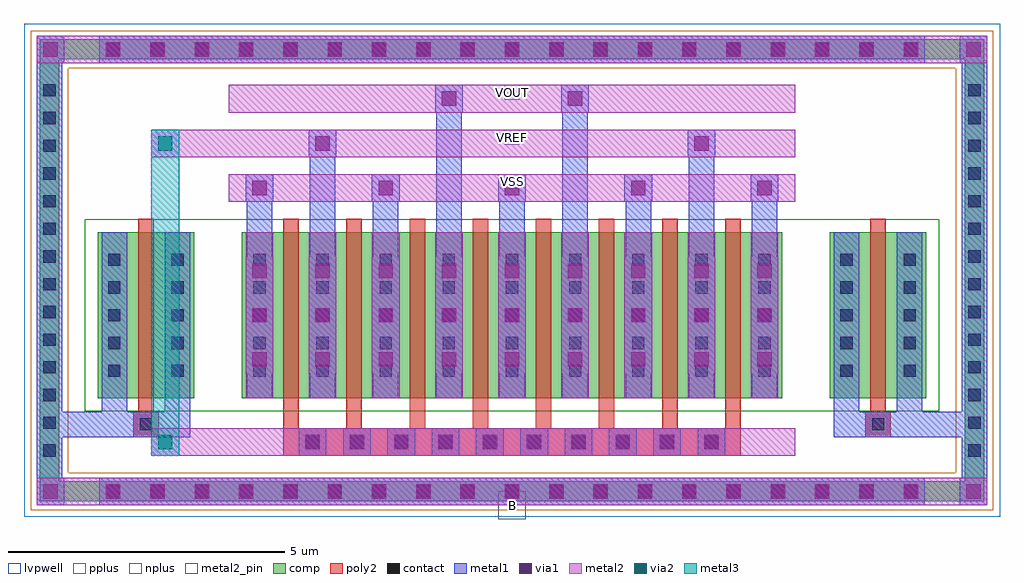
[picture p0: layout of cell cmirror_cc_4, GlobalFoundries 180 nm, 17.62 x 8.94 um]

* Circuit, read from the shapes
.subckt cmirror_cc_4 B VOUT VREF VSS
XM1 B B B B nfet_03v3 w=3u l=0.28u m=2
XM2 VREF VREF VSS B nfet_03v3 w=3u l=0.28u m=4
XM3 VOUT VREF VSS B nfet_03v3 w=3u l=0.28u m=4
.ends

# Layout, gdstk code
import gdstk
lib = gdstk.Library(unit=1e-6, precision=5e-09)
def R(c, l, rs):  # rectangles x0, y0, x1, y1
    for r in rs: c.add(gdstk.rectangle(r[:2], r[2:], *l))
def A(c, l, x, y, w, h, nx, ny, dx, dy):  # array of equal rectangles
    R(c, l, [(x+i*dx, y+j*dy, x+i*dx+w, y+j*dy+h) for i in range(nx) for j in range(ny)])
def P(c, l, *ps):  # polygons
    for p in ps: c.add(gdstk.Polygon(p, *l))
comp = (22, 0)
poly2 = (30, 0)
pplus = (31, 0)
nplus = (32, 0)
contact = (33, 0)
metal1 = (34, 0)
via1 = (35, 0)
metal2 = (36, 0)
metal2_pin = (36, 10)
via2 = (38, 0)
metal3 = (42, 0)
lvpwell = (204, 0)

cmirror_cc_4 = lib.new_cell('cmirror_cc_4')
A(cmirror_cc_4, comp, -7.38, -4.17, 0.36, 0.36, 19, 2, 0.8, 7.98)
A(cmirror_cc_4, comp, -8.53, -3.43, 0.36, 0.36, 1, 14, 0, 0.5)
A(cmirror_cc_4, comp, 8.17, -3.43, 0.36, 0.36, 1, 14, 0, 0.5)
R(cmirror_cc_4, comp, [(-7.38,-4.17,7.38,-3.81), (-8.53,-3.43,-8.17,3.43), (8.17,-3.43,8.53,3.43), (-7.48,-2.31,-5.74,0.69), (-4.88,-2.31,4.88,0.69), (5.74,-2.31,7.48,0.69), (-7.38,3.81,7.38,4.17)])
P(cmirror_cc_4, comp, [(8.53,4.17),(-8.53,4.17),(-8.53,-3.81),(-8.17,-3.81),(-8.17,3.81),(8.17,3.81),(8.17,-3.81),(-8.17,-3.81),(-8.53,-3.81),(-8.53,-4.17),(8.53,-4.17)])
A(cmirror_cc_4, poly2, -3.78, -3.28, 0.36, 0.36, 10, 1, 0.8, 0)
A(cmirror_cc_4, poly2, -4.13, -2.85, 0.28, 0.3, 8, 1, 1.14, 0)
A(cmirror_cc_4, poly2, -4.13, -2.55, 0.28, 3.48, 8, 1, 1.14, 0)
R(cmirror_cc_4, poly2, [(-4.13,-3.35,4.13,-2.85), (-6.84,-3.01,-6.38,-2.55), (6.38,-3.01,6.84,-2.55), (-6.79,-2.96,-6.43,-2.6), (6.43,-2.96,6.79,-2.6), (-6.75,-2.55,-6.47,0.93), (6.47,-2.55,6.75,0.93)])
P(cmirror_cc_4, pplus, [(8.69,4.33),(-8.69,4.33),(-8.69,-3.65),(-8.01,-3.65),(-8.01,3.65),(8.01,3.65),(8.01,-3.65),(-8.01,-3.65),(-8.69,-3.65),(-8.69,-4.33),(8.69,-4.33)])
R(cmirror_cc_4, nplus, [(-7.71,-2.54,-5.51,0.92), (-7.71,-2.54,7.71,0.92), (-5.11,-2.54,5.11,0.92), (5.51,-2.54,7.71,0.92)])
A(cmirror_cc_4, contact, -7.31, -4.1, 0.22, 0.22, 19, 2, 0.8, 7.98)
A(cmirror_cc_4, contact, -8.46, -3.36, 0.22, 0.22, 1, 14, 0, 0.5)
A(cmirror_cc_4, contact, 8.24, -3.36, 0.22, 0.22, 1, 14, 0, 0.5)
A(cmirror_cc_4, contact, -3.71, -3.21, 0.22, 0.22, 10, 1, 0.8, 0)
A(cmirror_cc_4, contact, -7.29, -1.92, 0.22, 0.22, 1, 5, 0, 0.5)
A(cmirror_cc_4, contact, -6.15, -1.92, 0.22, 0.22, 1, 5, 0, 0.5)
A(cmirror_cc_4, contact, -4.67, -1.92, 0.22, 0.22, 9, 5, 1.14, 0.5)
A(cmirror_cc_4, contact, 5.93, -1.92, 0.22, 0.22, 1, 5, 0, 0.5)
A(cmirror_cc_4, contact, 7.07, -1.92, 0.22, 0.22, 1, 5, 0, 0.5)
R(cmirror_cc_4, contact, [(-6.72,-2.89,-6.5,-2.67), (6.5,-2.89,6.72,-2.67)])
A(cmirror_cc_4, metal1, -7.45, -4.24, 0.5, 0.5, 19, 2, 0.8, 7.98)
A(cmirror_cc_4, metal1, -8.58, -3.48, 0.46, 0.46, 1, 14, 0, 0.5)
A(cmirror_cc_4, metal1, 8.12, -3.48, 0.46, 0.46, 1, 14, 0, 0.5)
A(cmirror_cc_4, metal1, -3.85, -3.35, 0.5, 0.5, 10, 1, 0.8, 0)
A(cmirror_cc_4, metal1, -4.79, -2.31, 0.46, 3, 9, 1, 1.14, 0)
A(cmirror_cc_4, metal1, -7.41, -2.04, 0.46, 0.46, 1, 5, 0, 0.5)
A(cmirror_cc_4, metal1, -6.27, -2.04, 0.46, 0.46, 1, 5, 0, 0.5)
A(cmirror_cc_4, metal1, -4.79, -2.04, 0.46, 0.46, 9, 5, 1.14, 0.5)
A(cmirror_cc_4, metal1, 5.81, -2.04, 0.46, 0.46, 1, 5, 0, 0.5)
A(cmirror_cc_4, metal1, 6.95, -2.04, 0.46, 0.46, 1, 5, 0, 0.5)
A(cmirror_cc_4, metal1, -4.81, -1.86, 0.5, 0.5, 9, 3, 1.14, 0.8)
A(cmirror_cc_4, metal1, -4.81, -1.86, 0.5, 2.1, 9, 1, 1.14, 0)
A(cmirror_cc_4, metal1, -4.79, 0.69, 0.46, 1.05, 5, 1, 2.28, 0)
A(cmirror_cc_4, metal1, -4.81, 1.24, 0.5, 0.5, 5, 1, 2.28, 0)
R(cmirror_cc_4, metal1, [(-8.58,-4.24,-8.08,-3.74), (-8.58,-4.24,-8.08,-3.74), (-8.58,-4.24,-8.12,-3.81), (-7.45,-4.24,7.45,-3.74), (8.08,-4.24,8.58,-3.74), (8.08,-4.24,8.58,-3.74), (8.12,-4.24,8.58,-3.81), (-8.58,-3.81,-8.12,3.81), (8.12,-3.81,8.58,3.81), (-8.58,-3.01,-6.84,-2.55), (-7.41,-3.01,-6.84,-2.55), (-7.41,-3.01,-6.95,-2.31), (-6.84,-3.01,-6.38,-2.55), (-6.38,-3.01,-5.81,-2.55), (-6.27,-3.01,-5.81,-2.31), (5.81,-3.01,6.38,-2.55), (5.81,-3.01,6.27,-2.31), (6.38,-3.01,6.84,-2.55), (6.84,-3.01,7.41,-2.55), (6.84,-3.01,8.58,-2.55), (6.95,-3.01,7.41,-2.31), (-7.41,-2.31,-6.95,0.69), (-6.27,-2.31,-5.81,0.69), (5.81,-2.31,6.27,0.69), (6.95,-2.31,7.41,0.69), (-3.65,0.69,-3.19,2.54), (-1.37,0.69,-0.91,3.35), (0.91,0.69,1.37,3.35), (3.19,0.69,3.65,2.54), (-3.67,2.04,-3.17,2.54), (3.17,2.04,3.67,2.54), (-1.39,2.85,-0.89,3.35), (0.89,2.85,1.39,3.35), (-8.58,3.74,-8.08,4.24), (-8.58,3.74,-8.08,4.24), (-7.45,3.74,7.45,4.24), (8.08,3.74,8.58,4.24), (8.08,3.74,8.58,4.24), (-8.58,3.81,-8.12,4.24), (8.12,3.81,8.58,4.24)])
A(cmirror_cc_4, via1, -7.33, -4.12, 0.26, 0.26, 19, 2, 0.8, 7.98)
A(cmirror_cc_4, via1, -3.73, -3.23, 0.26, 0.26, 10, 1, 0.8, 0)
A(cmirror_cc_4, via1, -4.69, -1.74, 0.26, 0.26, 9, 3, 1.14, 0.8)
A(cmirror_cc_4, via1, -4.69, 1.36, 0.26, 0.26, 5, 1, 2.28, 0)
R(cmirror_cc_4, via1, [(-8.46,-4.12,-8.2,-3.86), (8.2,-4.12,8.46,-3.86), (-3.55,2.16,-3.29,2.42), (3.29,2.16,3.55,2.42), (-1.27,2.97,-1.01,3.23), (1.01,2.97,1.27,3.23), (-8.46,3.86,-8.2,4.12), (8.2,3.86,8.46,4.12)])
A(cmirror_cc_4, metal2, -7.45, -4.24, 0.5, 0.5, 19, 2, 0.8, 7.98)
A(cmirror_cc_4, metal2, -3.85, -3.35, 0.5, 0.5, 10, 1, 0.8, 0)
A(cmirror_cc_4, metal2, -4.81, -2.31, 0.5, 3, 9, 1, 1.14, 0)
A(cmirror_cc_4, metal2, -4.81, -1.86, 0.5, 0.5, 9, 3, 1.14, 0.8)
A(cmirror_cc_4, metal2, -4.81, 1.24, 0.5, 0.5, 5, 1, 2.28, 0)
R(cmirror_cc_4, metal2, [(-8.58,-4.24,-8.08,-3.74), (-8.58,-4.24,-8.08,-3.74), (-8.58,-4.24,-8.17,-3.74), (-8.17,-4.24,8.17,-3.74), (8.08,-4.24,8.58,-3.74), (8.08,-4.24,8.58,-3.74), (8.17,-4.24,8.58,-3.74), (-6.51,-3.35,-6.01,-2.85), (-6.51,-3.35,-5.11,-2.85), (-5.11,-3.35,5.11,-2.85), (-4.13,-3.35,4.13,-2.85), (-5.11,1.24,5.11,1.74), (-6.51,2.04,-6.01,2.54), (-6.51,2.04,-5.11,2.54), (-5.11,2.04,5.11,2.54), (-3.67,2.04,-3.17,2.54), (3.17,2.04,3.67,2.54), (-5.11,2.85,5.11,3.35), (-1.39,2.85,-0.89,3.35), (0.89,2.85,1.39,3.35), (-8.58,3.74,-8.08,4.24), (-8.58,3.74,-8.08,4.24), (-8.58,3.74,-8.17,4.24), (-8.17,3.74,8.17,4.24), (8.08,3.74,8.58,4.24), (8.08,3.74,8.58,4.24), (8.17,3.74,8.58,4.24)])
R(cmirror_cc_4, metal2_pin, [(-0.25,-4.49,0.25,-3.99), (-0.135,1.47,0.135,1.74), (-0.135,2.27,0.135,2.54), (-0.135,3.08,0.135,3.35)])
R(cmirror_cc_4, via2, [(-6.39,-3.23,-6.13,-2.97), (-6.39,2.16,-6.13,2.42)])
R(cmirror_cc_4, metal3, [(-6.51,-3.35,-6.01,-2.85), (-6.51,-3.35,-6.01,-2.85), (-6.51,-3.35,-6.01,2.54), (-6.51,2.04,-6.01,2.54), (-6.51,2.04,-6.01,2.54)])
P(cmirror_cc_4, metal3, [(-6.01,-3.35),(-6.01,-3.35),(-6.01,-2.85),(-6.01,-2.85)],
  [(-6.01,2.04),(-6.01,2.04),(-6.01,2.54),(-6.01,2.54)])
R(cmirror_cc_4, lvpwell, [(-8.81,-4.45,8.81,4.45)])
cmirror_cc_4.add(gdstk.Label('B', (0,-4.24), layer=36, texttype=10))
cmirror_cc_4.add(gdstk.Label('VSS', (0,1.605), layer=36, texttype=10))
cmirror_cc_4.add(gdstk.Label('VOUT', (0,3.215), layer=36, texttype=10))
cmirror_cc_4.add(gdstk.Label('VREF', (0,2.405), layer=36, texttype=10))

lib.write_gds('cmirror_cc_4.gds')
